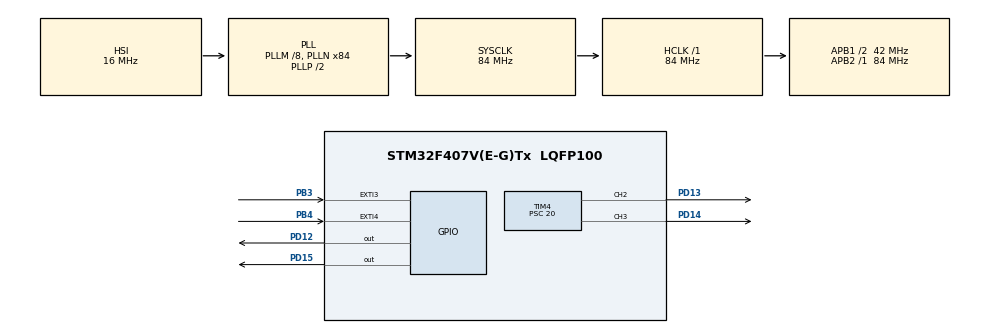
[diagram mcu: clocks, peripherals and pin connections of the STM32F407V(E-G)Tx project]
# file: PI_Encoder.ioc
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Mcu.Family=STM32F4
Mcu.Name=STM32F407V(E-G)Tx
Mcu.Package=LQFP100
NVIC.EXTI3_IRQn=true\:0\:0\:false\:false\:true\:true
NVIC.EXTI4_IRQn=true\:0\:0\:false\:false\:true\:true
NVIC.PriorityGroup=NVIC_PRIORITYGROUP_4
NVIC.TIM2_IRQn=true\:0\:0\:false\:false\:true\:true
PA13.Mode=Serial_Wire
PA13.Signal=SYS_JTMS-SWDIO
PA14.Mode=Serial_Wire
PA14.Signal=SYS_JTCK-SWCLK
PB3.Signal=GPXTI3
PB4.Signal=GPXTI4
PD12.Signal=GPIO_Output
PD13.GPIO_ModeDefaultPP=GPIO_MODE_AF_PP
PD13.GPIO_PuPd=GPIO_NOPULL
PD13.GPIO_Speed=GPIO_SPEED_FREQ_HIGH
PD13.Signal=S_TIM4_CH2
PD14.GPIO_ModeDefaultPP=GPIO_MODE_AF_PP
PD14.GPIO_PuPd=GPIO_NOPULL
PD14.GPIO_Speed=GPIO_SPEED_FREQ_HIGH
PD14.Signal=S_TIM4_CH3
PD15.Signal=GPIO_Output
ProjectManager.HeapSize=0x200
ProjectManager.StackSize=0x400
ProjectManager.TargetToolchain=MDK-ARM V5
RCC.48MHZClocksFreq_Value=42000000
RCC.AHBFreq_Value=84000000
RCC.APB1CLKDivider=RCC_HCLK_DIV2
RCC.APB1Freq_Value=42000000
RCC.APB1TimFreq_Value=84000000
RCC.APB2Freq_Value=84000000
RCC.APB2TimFreq_Value=84000000
RCC.CortexFreq_Value=84000000
RCC.HCLKFreq_Value=84000000
RCC.HSE_VALUE=25000000
RCC.HSI_VALUE=16000000
RCC.LSE_VALUE=32768
RCC.PLLM=8
RCC.PLLN=84
RCC.SYSCLKFreq_VALUE=84000000
RCC.SYSCLKSource=RCC_SYSCLKSOURCE_PLLCLK
RCC.VCOOutputFreq_Value=168000000
SH.S_TIM4_CH2.0=TIM4_CH2,PWM Generation2 CH2
SH.S_TIM4_CH3.0=TIM4_CH3,PWM Generation3 CH3
TIM2.Period=999
TIM2.Prescaler=8399
TIM4.Channel-PWM\ Generation2\ CH2=TIM_CHANNEL_2
TIM4.Channel-PWM\ Generation3\ CH3=TIM_CHANNEL_3
TIM4.Period=399
TIM4.Prescaler=20
VP_TIM2_VS_ClockSourceINT.Mode=Internal
VP_TIM4_VS_ClockSourceINT.Mode=Internal
board=custom

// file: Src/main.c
/* USER CODE BEGIN Header */
/**
  ******************************************************************************
  * @file           : main.c
  * @brief          : Main program body
  ******************************************************************************
  ** This notice applies to any and all portions of this file
  * that are not between comment pairs USER CODE BEGIN and
  * USER CODE END. Other portions of this file, whether
  * inserted by the user or by software development tools
  * are owned by their respective copyright owners.
  *
  * COPYRIGHT(c) 2019 STMicroelectronics
  *
  * Redistribution and use in source and binary forms, with or without modification,
  * are permitted provided that the following conditions are met:
  *   1. Redistributions of source code must retain the above copyright notice,
  *      this list of conditions and the following disclaimer.
  *   2. Redistributions in binary form must reproduce the above copyright notice,
  *      this list of conditions and the following disclaimer in the documentation
  *      and/or other materials provided with the distribution.
  *   3. Neither the name of STMicroelectronics nor the names of its contributors
  *      may be used to endorse or promote products derived from this software
  *      without specific prior written permission.
  *
  * THIS SOFTWARE IS PROVIDED BY THE COPYRIGHT HOLDERS AND CONTRIBUTORS "AS IS"
  * AND ANY EXPRESS OR IMPLIED WARRANTIES, INCLUDING, BUT NOT LIMITED TO, THE
  * IMPLIED WARRANTIES OF MERCHANTABILITY AND FITNESS FOR A PARTICULAR PURPOSE ARE
  * DISCLAIMED. IN NO EVENT SHALL THE COPYRIGHT HOLDER OR CONTRIBUTORS BE LIABLE
  * FOR ANY DIRECT, INDIRECT, INCIDENTAL, SPECIAL, EXEMPLARY, OR CONSEQUENTIAL
  * DAMAGES (INCLUDING, BUT NOT LIMITED TO, PROCUREMENT OF SUBSTITUTE GOODS OR
  * SERVICES; LOSS OF USE, DATA, OR PROFITS; OR BUSINESS INTERRUPTION) HOWEVER
  * CAUSED AND ON ANY THEORY OF LIABILITY, WHETHER IN CONTRACT, STRICT LIABILITY,
  * OR TORT (INCLUDING NEGLIGENCE OR OTHERWISE) ARISING IN ANY WAY OUT OF THE USE
  * OF THIS SOFTWARE, EVEN IF ADVISED OF THE POSSIBILITY OF SUCH DAMAGE.
  *
  ******************************************************************************
  */
/* USER CODE END Header */

#include "main.h"

/* USER CODE BEGIN Includes */
#include <math.h>
/* USER CODE END Includes */

TIM_HandleTypeDef htim2;
TIM_HandleTypeDef htim4;

/* USER CODE BEGIN PV */

uint16_t TIM_Period = 399; //This values may need to be recalculated = (timer_tick_freq/PWM_freq)-1, with timer_tick_freq = timer_default_freq / (pre_scaler+1)
uint32_t Pulse_LeftMotor=0, Pulse_RightMotor=0; 	//Variable to count Encoder Left n Right
float Speed_LeftMotor=0, Speed_RightMotor=0; 	//Variable from 0-100 to control duty cycle
float Ke=3,Kde=0.5,Kout=50;													//Parameter
float CurrentX=0, CurrentY=0, CurrentPhi=0, PrevPhi=0;//Current position of the vehicle
float DestX=37.f, DestY=9.f;
float PrevError=0, CurrErr=0;
float dt=0.1f; 																		//Control Period
float KhoangCach2Banh = 0.6f; //Khoang cach giua 2 banh xe
extern uint8_t tim2Indicator=0; //Check if timer2 works
extern float distance =0;
//Ham tinh toan
float EuclidDistance(float x1,float y1,float x2, float y2){ //Ok

	return sqrt((x1-x2)*(x1-x2)+(y1-y2)*(y1-y2));
}
//Ham xuat % dong co
void SetPWM_withDutyCycle_withStop(TIM_HandleTypeDef *htim, uint32_t Channel, int dutyCycle, int STOP_CODE){ //Ok

	dutyCycle=(dutyCycle > 100 ) ? 100 : dutyCycle;
	dutyCycle=(dutyCycle < 0)? 0: dutyCycle;

	/*This function allow to Write PWM in duty cycle with timer and channel parameters*/
	int32_t pulse_length = TIM_Period*dutyCycle/100;
	if (STOP_CODE==0)
	{
		__HAL_TIM_SET_COMPARE(htim, Channel, pulse_length);
	}
	else
	{
	__HAL_TIM_SET_COMPARE(htim, Channel, 0);
	}
};

void SetPWM_withDutyCycle(TIM_HandleTypeDef *htim, uint32_t Channel, int dutyCycle){ // Ok

	dutyCycle=(dutyCycle > 100 ) ? 100 : dutyCycle;
	dutyCycle=(dutyCycle < 0)? 0: dutyCycle;

	/*This function allow to Write PWM in duty cycle with timer and channel parameters*/
	int32_t pulse_length = TIM_Period*dutyCycle/100;
	__HAL_TIM_SET_COMPARE(htim, Channel, pulse_length);
};

//Fuzzy functions
double mftrap(double x,double L,double C1,double C2,double R){ //Ok
	double y;
	if (x<L)
		y=0;
	else if (x<C1)
		y=(x-L)/(C1-L);
	else if (x<C2)
		y=1;
	else if (x<R)
		y=(R-x)/(R-C2);
	else
		y=0;
	return y;}
double max(double num1,double num2){ //Ok
	return (num1 > num2 ) ? num1 : num2;
}
double Defuzzication_R(double e, double de){ //Ok

	//Return e and de in range [-1 1]
	e=(e>1)?1:e;
	e=(e<-1)?-1:e;
	de=(de>1)?1:de;
	de=(de<-1)?-1:de;

	double e_NE,e_ZE,e_PO,de_NE,de_ZE,de_PO;

	e_NE=mftrap(e,-1.1,-1,-0.1,0);
	e_ZE=mftrap(e,-0.1,0,0,0.1);
	e_PO=mftrap(e,0,0.1,1,1.1);

	de_NE=mftrap(de,-1.1,-1,-1,0);
	de_ZE=mftrap(de,-1,0,0,1);
	de_PO=mftrap(de,0,1,1,1.1);

	double	dR_NB=-1;
	double	dR_NS=-0.4;
	double	dR_ZE=0;
	double	dR_PS=0.4;
	double	dR_PB=1;

	double	beta1=e_NE*de_NE;   //R=NB
	double	beta2=e_NE*de_ZE;   //R=NS
	double	beta3=e_NE*de_PO;   //R=ZE
	double	beta4=e_ZE*de_NE;   //R=NS
	double	beta5=e_ZE*de_ZE;   //R=ZE
	double	beta6=e_ZE*de_PO;   //R=PS
	double	beta7=e_PO*de_NE;   //R=ZE
	double	beta8=e_PO*de_ZE;   //R=PS
	double	beta9=e_PO*de_PO;   //R=PB

	double beta_NB=beta1;
	double beta_NS=max(beta2,beta4);
	double beta_ZE=max(beta3,max(beta5,beta7));
	double beta_PS=max(beta6,beta8);
	double beta_PB=beta9;

	double sumBeta=beta_NB+beta_NS+beta_ZE+beta_PS+beta_PB;
	double dR=(dR_NB*beta_NB+dR_NS*beta_NS+dR_ZE*beta_ZE+dR_PS*beta_PS+dR_PB*beta_PB)/sumBeta;

	return dR;
}
double Defuzzication_L(double e, double de){ //Ok
	return -1*Defuzzication_R(e,de);
}

//Control Function
double GetNewGocLai(float KhoangNhinTruoc,float xDest,float yDest, float xCurr, float yCurr,float phiCurr){ //Ok
	float l = KhoangNhinTruoc;
	float xg=0,yg=0; //forhead point

	//Case 1: xDest != xCurr, we calculate (xg,yg), which is the forehead point
	if(xDest!=xCurr){
		float m =(yDest-yCurr)/(xDest-xCurr);
		float c =(yCurr*xDest-yDest*xCurr)/(xDest-xCurr);

		float A= 1+m*m;
		float B= -2*xCurr+2*m*c-2*m*yCurr;
		float C= xCurr*xCurr+(c-yCurr)*(c-yCurr)-l*l;

		if(xDest < xCurr){
			xg = (-B-sqrt(B*B-4*A*C))/(2*A);
			yg = m*xg +c;
		}else{
			xg = (-B+sqrt(B*B-4*A*C))/(2*A);
			yg = m*xg +c;
		}
	}

	//Case 2: xDest = xCurr, we calculate (xg,yg), which is the forehead point
	if(xDest == xCurr){
		if(yDest < yCurr){
			xg = xDest;
			yg = yCurr-l;
		}else if(yDest > yCurr){
			xg = xDest;
			yg = yCurr+l;
		}
	}

	//Now we have (xg,yg), scale it into the vehicle coordinate
	float xG = xg - xCurr;
	float yG = yg - yCurr;

	float x = xG*sin(phiCurr)-yG*cos(phiCurr);
	float y = xG*cos(phiCurr)+yG*sin(phiCurr);

	//Now we have (x,y), finally let's calculate GocLai
	float alpha = atan(x/y);
	return phiCurr-alpha;
}
double GetError(float GocLai,float CurrentPhi){ //Ok
	return GocLai-CurrentPhi;
}
double GetDerivativeError(float oldErr,float newErr){ //Ok
	return (newErr-oldErr)/dt;
}
void ControlMotor(float e, float de){ //Ok
	float eFuzzy = Ke*e;
	float deFuzzy =Kde*de;

	double aRight = Defuzzication_R(Ke*eFuzzy,Kde*deFuzzy);
	double aLeft 	= Defuzzication_L(Ke*eFuzzy,Kde*deFuzzy);

	Speed_RightMotor+=Kout*aRight*dt;
	Speed_LeftMotor+=Kout*aLeft*dt;

	//limit to [0 100]
	Speed_LeftMotor=(Speed_LeftMotor>100)?100:Speed_LeftMotor;
	Speed_LeftMotor=(Speed_LeftMotor<0)?0:Speed_LeftMotor;

	Speed_RightMotor=(Speed_RightMotor>100)?100:Speed_RightMotor;
	Speed_RightMotor=(Speed_RightMotor<0)?0:Speed_RightMotor;

	distance=EuclidDistance(CurrentX,CurrentY,DestX,DestY);
	int STOPCODE=(distance>0.2)?0:1;

	SetPWM_withDutyCycle(&htim4,TIM_CHANNEL_2,(int)Speed_LeftMotor); //TIM_CHANNEL_2 = PD13 = Left Motor
	SetPWM_withDutyCycle(&htim4,TIM_CHANNEL_3,(int)Speed_RightMotor); //TIM_CHANNEL_3 = PD14 = Right Motor
}
float Encoder2Distance(int pulse){ //Ok
	// 1 vong dong co = 350 xung
	// ban kinh truc dong co R = 7 mm
	return (float)pulse*2*3.14f*7/(350*1000);
}
void CalculateNewPosition(float RightDistance, float LeftDistance){//Ok

	CurrentX+=(float)((RightDistance+LeftDistance)*cos(PrevPhi)/2);
	CurrentY+=(float)((RightDistance+LeftDistance)*sin(PrevPhi)/2);
	CurrentPhi+=(RightDistance-LeftDistance)/KhoangCach2Banh;

	//Reset Encoder
	Pulse_LeftMotor =0;
	Pulse_RightMotor=0;
}
void UpdateParams(float Error,float Phi){ //Ok
	PrevError=Error;
	PrevPhi=Phi;
}

/* USER CODE END PV */

void SystemClock_Config(void);
static void MX_GPIO_Init(void);
static void MX_TIM4_Init(void);
static void MX_TIM2_Init(void);

int main(void)
{

  /* MCU Configuration--------------------------------------------------------*/

  /* Reset of all peripherals, Initializes the Flash interface and the Systick. */
  HAL_Init();

  /* Configure the system clock */
  SystemClock_Config();

  /* Initialize all configured peripherals */
  MX_GPIO_Init();
  MX_TIM4_Init();
  MX_TIM2_Init();
  /* USER CODE BEGIN 2 */

	//Start PWM
	HAL_TIM_PWM_Start(&htim4,TIM_CHANNEL_1);
	HAL_TIM_PWM_Start(&htim4,TIM_CHANNEL_2);
	HAL_TIM_PWM_Start(&htim4,TIM_CHANNEL_3);
	HAL_TIM_PWM_Start(&htim4,TIM_CHANNEL_4);

	//Start Timer 2
	HAL_TIM_Base_Start_IT(&htim2);

	//Set GPIOD 12,15 to Vdd to Enable for the Right Driver
	HAL_GPIO_WritePin(GPIOD,GPIO_PIN_12,GPIO_PIN_SET);
	HAL_GPIO_WritePin(GPIOD,GPIO_PIN_15,GPIO_PIN_SET);

	//Set Speed Test
	SetPWM_withDutyCycle(&htim4,TIM_CHANNEL_2,30); //Left
	SetPWM_withDutyCycle(&htim4,TIM_CHANNEL_3,100); //Right
	//__HAL_TIM_SET_COMPARE(&htim4, TIM_CHANNEL_2,200);

  /* USER CODE END 2 */

  /* Infinite loop */
  while (1)
  {

  }
}

void SystemClock_Config(void)
{
  RCC_OscInitTypeDef RCC_OscInitStruct = {0};
  RCC_ClkInitTypeDef RCC_ClkInitStruct = {0};

  /**Configure the main internal regulator output voltage
  */
  __HAL_RCC_PWR_CLK_ENABLE();
  __HAL_PWR_VOLTAGESCALING_CONFIG(PWR_REGULATOR_VOLTAGE_SCALE1);
  /**Initializes the CPU, AHB and APB busses clocks
  */
  RCC_OscInitStruct.OscillatorType = RCC_OSCILLATORTYPE_HSI;
  RCC_OscInitStruct.HSIState = RCC_HSI_ON;
  RCC_OscInitStruct.HSICalibrationValue = RCC_HSICALIBRATION_DEFAULT;
  RCC_OscInitStruct.PLL.PLLState = RCC_PLL_ON;
  RCC_OscInitStruct.PLL.PLLSource = RCC_PLLSOURCE_HSI;
  RCC_OscInitStruct.PLL.PLLM = 8;
  RCC_OscInitStruct.PLL.PLLN = 84;
  RCC_OscInitStruct.PLL.PLLP = RCC_PLLP_DIV2;
  RCC_OscInitStruct.PLL.PLLQ = 4;
  if (HAL_RCC_OscConfig(&RCC_OscInitStruct) != HAL_OK)
  {
    Error_Handler();
  }
  /**Initializes the CPU, AHB and APB busses clocks
  */
  RCC_ClkInitStruct.ClockType = RCC_CLOCKTYPE_HCLK|RCC_CLOCKTYPE_SYSCLK
                              |RCC_CLOCKTYPE_PCLK1|RCC_CLOCKTYPE_PCLK2;
  RCC_ClkInitStruct.SYSCLKSource = RCC_SYSCLKSOURCE_PLLCLK;
  RCC_ClkInitStruct.AHBCLKDivider = RCC_SYSCLK_DIV1;
  RCC_ClkInitStruct.APB1CLKDivider = RCC_HCLK_DIV2;
  RCC_ClkInitStruct.APB2CLKDivider = RCC_HCLK_DIV1;

  if (HAL_RCC_ClockConfig(&RCC_ClkInitStruct, FLASH_LATENCY_2) != HAL_OK)
  {
    Error_Handler();
  }
}

static void MX_TIM2_Init(void)
{

  TIM_ClockConfigTypeDef sClockSourceConfig = {0};
  TIM_MasterConfigTypeDef sMasterConfig = {0};

  htim2.Instance = TIM2;
  htim2.Init.Prescaler = 8399;
  htim2.Init.CounterMode = TIM_COUNTERMODE_UP;
  htim2.Init.Period = 999;
  htim2.Init.ClockDivision = TIM_CLOCKDIVISION_DIV1;
  if (HAL_TIM_Base_Init(&htim2) != HAL_OK)
  {
    Error_Handler();
  }
  sClockSourceConfig.ClockSource = TIM_CLOCKSOURCE_INTERNAL;
  if (HAL_TIM_ConfigClockSource(&htim2, &sClockSourceConfig) != HAL_OK)
  {
    Error_Handler();
  }
  sMasterConfig.MasterOutputTrigger = TIM_TRGO_RESET;
  sMasterConfig.MasterSlaveMode = TIM_MASTERSLAVEMODE_DISABLE;
  if (HAL_TIMEx_MasterConfigSynchronization(&htim2, &sMasterConfig) != HAL_OK)
  {
    Error_Handler();
  }

}

static void MX_TIM4_Init(void)
{

  TIM_ClockConfigTypeDef sClockSourceConfig = {0};
  TIM_MasterConfigTypeDef sMasterConfig = {0};
  TIM_OC_InitTypeDef sConfigOC = {0};

  htim4.Instance = TIM4;
  htim4.Init.Prescaler = 20;
  htim4.Init.CounterMode = TIM_COUNTERMODE_UP;
  htim4.Init.Period = 399;
  htim4.Init.ClockDivision = TIM_CLOCKDIVISION_DIV1;
  if (HAL_TIM_Base_Init(&htim4) != HAL_OK)
  {
    Error_Handler();
  }
  sClockSourceConfig.ClockSource = TIM_CLOCKSOURCE_INTERNAL;
  if (HAL_TIM_ConfigClockSource(&htim4, &sClockSourceConfig) != HAL_OK)
  {
    Error_Handler();
  }
  if (HAL_TIM_PWM_Init(&htim4) != HAL_OK)
  {
    Error_Handler();
  }
  sMasterConfig.MasterOutputTrigger = TIM_TRGO_RESET;
  sMasterConfig.MasterSlaveMode = TIM_MASTERSLAVEMODE_DISABLE;
  if (HAL_TIMEx_MasterConfigSynchronization(&htim4, &sMasterConfig) != HAL_OK)
  {
    Error_Handler();
  }
  sConfigOC.OCMode = TIM_OCMODE_PWM1;
  sConfigOC.Pulse = 0;
  sConfigOC.OCPolarity = TIM_OCPOLARITY_HIGH;
  sConfigOC.OCFastMode = TIM_OCFAST_DISABLE;
  if (HAL_TIM_PWM_ConfigChannel(&htim4, &sConfigOC, TIM_CHANNEL_2) != HAL_OK)
  {
    Error_Handler();
  }
  if (HAL_TIM_PWM_ConfigChannel(&htim4, &sConfigOC, TIM_CHANNEL_3) != HAL_OK)
  {
    Error_Handler();
  }
  HAL_TIM_MspPostInit(&htim4);

}

static void MX_GPIO_Init(void)
{
  GPIO_InitTypeDef GPIO_InitStruct = {0};

  /* GPIO Ports Clock Enable */
  __HAL_RCC_GPIOD_CLK_ENABLE();
  __HAL_RCC_GPIOA_CLK_ENABLE();
  __HAL_RCC_GPIOB_CLK_ENABLE();

  /*Configure GPIO pin Output Level */
  HAL_GPIO_WritePin(GPIOD, GPIO_PIN_12|GPIO_PIN_15, GPIO_PIN_RESET);

  /*Configure GPIO pins : PD12 PD15 */
  GPIO_InitStruct.Pin = GPIO_PIN_12|GPIO_PIN_15;
  GPIO_InitStruct.Mode = GPIO_MODE_OUTPUT_PP;
  GPIO_InitStruct.Pull = GPIO_NOPULL;
  GPIO_InitStruct.Speed = GPIO_SPEED_FREQ_LOW;
  HAL_GPIO_Init(GPIOD, &GPIO_InitStruct);

  /*Configure GPIO pins : PB3 PB4 */
  GPIO_InitStruct.Pin = GPIO_PIN_3|GPIO_PIN_4;
  GPIO_InitStruct.Mode = GPIO_MODE_IT_RISING;
  GPIO_InitStruct.Pull = GPIO_NOPULL;
  HAL_GPIO_Init(GPIOB, &GPIO_InitStruct);

  /* EXTI interrupt init*/
  HAL_NVIC_SetPriority(EXTI3_IRQn, 0, 0);
  HAL_NVIC_EnableIRQ(EXTI3_IRQn);

  HAL_NVIC_SetPriority(EXTI4_IRQn, 0, 0);
  HAL_NVIC_EnableIRQ(EXTI4_IRQn);

}

/* USER CODE BEGIN 4 */

//Timer 2 call back
void HAL_TIM_PeriodElapsedCallback(TIM_HandleTypeDef *htim){
	if(htim->Instance==htim2.Instance){
		//Some Indicator
		tim2Indicator ++;
	}
}

/* USER CODE END 4 */

void Error_Handler(void)
{
}

/************************ (C) COPYRIGHT STMicroelectronics *****END OF FILE****/
